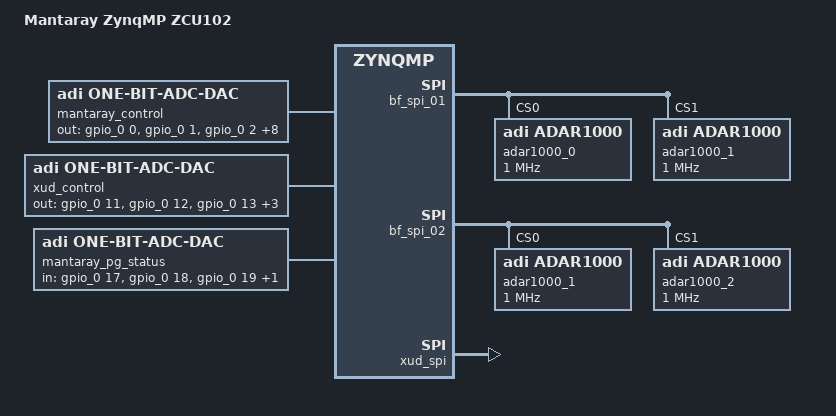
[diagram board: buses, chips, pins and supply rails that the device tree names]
// SPDX-License-Identifier: GPL-2.0
/*
 * Analog Devices Mantaray
 *
 * hdl_project: <>
 * board_revision: <>
 *
 * Copyright (C) 2026 Analog Devices Inc.
 */

 #include "zynqmp-zcu102-rev1.0.dts"
 #include <dt-bindings/iio/frequency/hmc7044.h>
 
 / {
         model = "Mantaray ZynqMP ZCU102";
 
         fpga_axi: fpga-axi@0 {
                #address-cells = <2>;
                #size-cells = <2>;
                compatible = "simple-bus";
                ranges ;
 
                axi_sysid_0: axi_sysid@85000000 {
                        clock-names = "s_axi_aclk";
                        clocks = <&zynqmp_clk 71>;
                        compatible = "xlnx,axi-sysid-1.0";
                        reg = <0x0 0x85000000 0x0 0x10000>;
                };

                axi_tdd_0: axi_tdd@800a0000 {
                        clock-names = "intf_clk", "s_axi_aclk";
                        clocks = <&zynqmp_clk 72>, <&zynqmp_clk 71>;
                        compatible = "adi,axi-tdd";
                        reg = <0x0 0x800a0000 0x0 0x1000>;
                };
        
                iio_axi_tdd_0: iio-axi-tdd-0@0 {
                        compatible = "adi,iio-fake-platform-device";
                        adi,faked-dev = <&axi_tdd_0>;
                        adi,attribute-names =
                                "version", "core_id", "scratch", "magic",
                                "sync_soft", "sync_external", "sync_internal", "sync_reset",
                                "enable", "startup_delay_raw", "startup_delay_ms",
                                "burst_count", "frame_length_raw", "frame_length_ms",
                                "state", "internal_sync_period_raw", "internal_sync_period_ms",
                                "out_channel0_enable", "out_channel0_polarity",
                                "out_channel0_on_raw", "out_channel0_on_ms",
                                "out_channel0_off_raw", "out_channel0_off_ms",
                                "out_channel1_enable", "out_channel1_polarity",
                                "out_channel1_on_raw", "out_channel1_on_ms",
                                "out_channel1_off_raw", "out_channel1_off_ms",
                                "out_channel2_enable", "out_channel2_polarity",
                                "out_channel2_on_raw", "out_channel2_on_ms",
                                "out_channel2_off_raw", "out_channel2_off_ms",
                                "out_channel3_enable", "out_channel3_polarity",
                                "out_channel3_on_raw", "out_channel3_on_ms",
                                "out_channel3_off_raw", "out_channel3_off_ms",
                                "out_channel4_enable", "out_channel4_polarity",
                                "out_channel4_on_raw", "out_channel4_on_ms",
                                "out_channel4_off_raw", "out_channel4_off_ms",
                                "out_channel5_enable", "out_channel5_polarity",
                                "out_channel5_on_raw", "out_channel5_on_ms",
                                "out_channel5_off_raw", "out_channel5_off_ms",
                                "out_channel6_enable", "out_channel6_polarity",
                                "out_channel6_on_raw", "out_channel6_on_ms",
                                "out_channel6_off_raw", "out_channel6_off_ms",
                                "out_channel7_enable", "out_channel7_polarity",
                                "out_channel7_on_raw", "out_channel7_on_ms",
                                "out_channel7_off_raw", "out_channel7_off_ms",
                                "out_channel8_enable", "out_channel8_polarity",
                                "out_channel8_on_raw", "out_channel8_on_ms",
                                "out_channel8_off_raw", "out_channel8_off_ms",
                                "out_channel9_enable", "out_channel9_polarity",
                                "out_channel9_on_raw", "out_channel9_on_ms",
                                "out_channel9_off_raw", "out_channel9_off_ms",
                                "out_channel10_enable", "out_channel10_polarity",
                                "out_channel10_on_raw", "out_channel10_on_ms",
                                "out_channel10_off_raw", "out_channel10_off_ms",
                                "out_channel11_enable", "out_channel11_polarity",
                                "out_channel11_on_raw", "out_channel11_on_ms",
                                "out_channel11_off_raw", "out_channel11_off_ms",
                                "out_channel12_enable", "out_channel12_polarity",
                                "out_channel12_on_raw", "out_channel12_on_ms",
                                "out_channel12_off_raw", "out_channel12_off_ms",
                                "out_channel13_enable", "out_channel13_polarity",
                                "out_channel13_on_raw", "out_channel13_on_ms",
                                "out_channel13_off_raw", "out_channel13_off_ms",
                                "out_channel14_enable", "out_channel14_polarity",
                                "out_channel14_on_raw", "out_channel14_on_ms",
                                "out_channel14_off_raw", "out_channel14_off_ms",
                                "out_channel15_enable", "out_channel15_polarity",
                                "out_channel15_on_raw", "out_channel15_on_ms",
                                "out_channel15_off_raw", "out_channel15_off_ms",
                                "out_channel16_enable", "out_channel16_polarity",
                                "out_channel16_on_raw", "out_channel16_on_ms",
                                "out_channel16_off_raw", "out_channel16_off_ms";
                        label = "iio-axi-tdd-0";
                };

 
                bf_spi_01: spi@80000000 {
                        #address-cells = <1>;
                        #size-cells = <0>;
                        bits-per-word = <8>;
                        clock-names = "ext_spi_clk", "s_axi_aclk";
                        clocks = <&zynqmp_clk 74>, <&zynqmp_clk 71>;
                        compatible = "xlnx,axi-quad-spi-3.2", "xlnx,xps-spi-2.00.a";
                        fifo-size = <16>;
                        interrupt-names = "ip2intc_irpt";
                        interrupt-parent = <&gic>;
                        interrupts = <0 89 1>;
                        num-cs = <0x4>;
                        reg = <0x0 0x80000000 0x0 0x1000>;
                        xlnx,num-ss-bits = <0x4>;
                        xlnx,spi-mode = <0>;

                        //first tile on the first controller
                        adar1000_0@0 {
                                compatible = "adi,adar1000";
                                reg = <0>;
                                spi-max-frequency = <1000000>;
        
                                #address-cells = <1>;
                                #size-cells = <0>;
        
                                adar1000_csb_0_1_1@0 {
                                        reg = <0>;
                                        label = "adar1000_csb_0_1_1";
                                };
        
                                adar1000_csb_0_1_2@1 {
                                        reg = <1>;
                                        label = "adar1000_csb_0_1_2";
                                };
        
                                adar1000_csb_0_1_3@2 {
                                        reg = <2>;
                                        label = "adar1000_csb_0_1_3";
                                };
        
                                adar1000_csb_0_1_4@3 {
                                        reg = <3>;
                                        label = "adar1000_csb_0_1_4";
                                };
                        };
 
                        //second tile on the first controller
                        adar1000_1@1 {
                        	compatible = "adi,adar1000";
                        	reg = <1>;
                        	spi-max-frequency = <1000000>;
        
                        	#address-cells = <1>;
                        	#size-cells = <0>;
        
                        	adar1000_csb_0_2_1@0 {
                        		reg = <0>;
                        		label = "adar1000_csb_0_2_1";
                        	};
        
                        	adar1000_csb_0_2_2@1 {
                        		reg = <1>;
                        		label = "adar1000_csb_0_2_2";
                        	};
        
                        	adar1000_csb_0_2_3@2 {
                        		reg = <2>;
                        		label = "adar1000_csb_0_2_3";
                        	};
        
                        	adar1000_csb_0_2_4@3 {
                        		reg = <3>;
                        		label = "adar1000_csb_0_2_4";
                        	};
                        };
                };
 
                bf_spi_02: spi@80010000 {
                        #address-cells = <1>;
                        #size-cells = <0>;
                        bits-per-word = <8>;
                        clock-names = "ext_spi_clk", "s_axi_aclk";
                        clocks = <&zynqmp_clk 74>, <&zynqmp_clk 71>;
                        compatible = "xlnx,axi-quad-spi-3.2", "xlnx,xps-spi-2.00.a";
                        fifo-size = <16>;
                        interrupt-names = "ip2intc_irpt";
                        interrupt-parent = <&gic>;
                        interrupts = <0 90 1>;
                        num-cs = <0x4>;
                        reg = <0x0 0x80010000 0x0 0x1000>;
                        xlnx,num-ss-bits = <0x4>;
                        xlnx,spi-mode = <0>;
                        //first tile second controller
                        adar1000_1@0 {
                        	compatible = "adi,adar1000";
                        	reg = <0>;
                        	spi-max-frequency = <1000000>;
        
                        	#address-cells = <1>;
                        	#size-cells = <0>;
        
                        	adar1000_csb_1_1_1@0 {
                        		reg = <0>;
                        		label = "adar1000_csb_1_1_1";
                        	};
        
                        	adar1000_csb_1_1_2@1 {
                        		reg = <1>;
                        		label = "adar1000_csb_1_1_2";
                        	};
        
                        	adar1000_csb_1_1_3@2 {
                        		reg = <2>;
                        		label = "adar1000_csb_1_1_3";
                        	};
        
                        	adar1000_csb_1_1_4@3 {
                        		reg = <3>;
                        		label = "adar1000_csb_1_1_4";
                        	};
                        };

                        //second tile second controller
                        adar1000_2@1 {
                        	compatible = "adi,adar1000";
                        	reg = <1>;
                        	spi-max-frequency = <1000000>;
        
                        	#address-cells = <1>;
                        	#size-cells = <0>;
        
                        	adar1000_csb_1_2_1@0 {
                        		reg = <0>;
                        		label = "adar1000_csb_1_2_1";
                        	};
        
                        	adar1000_csb_1_2_2@1 {
                        		reg = <1>;
                        		label = "adar1000_csb_1_2_2";
                        	};
        
                        	adar1000_csb_1_2_3@2 {
                        		reg = <2>;
                        		label = "adar1000_csb_1_2_3";
                        	};
        
                        	adar1000_csb_1_2_4@3 {
                        		reg = <3>;
                        		label = "adar1000_csb_1_2_4";
                        	};
                        };
 
                };
                 
                gpio_0: gpio@80090000 {
                        #gpio-cells = <2>;
                        clock-names = "s_axi_aclk";
                        clocks = <&zynqmp_clk 71>;
                        compatible = "xlnx,axi-gpio-2.0", "xlnx,xps-gpio-1.00.a";
                        gpio-controller;
                        reg = <0x0 0x80090000 0x0 0x1000>;
                        xlnx,all-inputs = <0x0>;
                        xlnx,all-inputs-2 = <0x0>;
                        xlnx,all-outputs = <0x0>;
                        xlnx,all-outputs-2 = <0x0>;
                        xlnx,dout-default = <0x00000000>;
                        xlnx,dout-default-2 = <0x00000000>;
                        xlnx,gpio-width = <0x16>;
                        xlnx,gpio2-width = <0x4>;
                        xlnx,interrupt-present = <0x0>;
                        xlnx,is-dual = <0x1>;
                        xlnx,tri-default = <0xFFFFFFFF>;
                        xlnx,tri-default-2 = <0xFFFFFFFF>;
                 };

                xud_spi: spi@80080000 {
                        bits-per-word = <8>;
                        clock-names = "ext_spi_clk", "s_axi_aclk";
                        clocks = <&zynqmp_clk 74>, <&zynqmp_clk 71>;
                        compatible = "xlnx,axi-quad-spi-3.2", "xlnx,xps-spi-2.00.a";
                        fifo-size = <16>;
                        interrupt-names = "ip2intc_irpt";
                        interrupt-parent = <&gic>;
                        interrupts = <0 97 1>;
                        num-cs = <0x1>;
                        reg = <0x0 0x80080000 0x0 0x1000>;
                        xlnx,num-ss-bits = <0x1>;
                        xlnx,spi-mode = <0>;
                 };
         };
 
        mantaray_control@0 {
 
                compatible = "adi,one-bit-adc-dac";
                #address-cells = <1>;
                #size-cells = <0>;

                out-gpios = <&gpio_0 0 0>, <&gpio_0 1 0>, <&gpio_0 2 0>,
                            <&gpio_0 3 0>, <&gpio_0 4 0>, <&gpio_0 5 0>,
                            <&gpio_0 6 0>, <&gpio_0 7 0>, <&gpio_0 8 0>,
                            <&gpio_0 9 0>, <&gpio_0 10 0>;
                label = "mantaray_control";
 
                channel@0 {
                        reg = <0>;
                        label = "BF_TR";
                };
 
                channel@1 {
                        reg = <1>;
                        label = "BF_TX_LOAD";
                };
 
                channel@2 {
                        reg = <2>;
                        label = "BF_RX_LOAD";
                };
 
                channel@3 {
                        reg = <3>;
                        label = "BF_PWR_EN_01";
                };
 
                channel@4 {
                        reg = <4>;
                        label = "BF_PA_ON_01";
                };
 
                channel@5 {
                        reg = <5>;
                        label = "BF_PWR_EN_02";
                };
 
                channel@6 {
                        reg = <6>;
                        label = "BF_PA_ON_02";
                };
 
                channel@7 {
                        reg = <7>;
                        label = "BF_PWR_EN_03";
                };

                channel@8 {
                        reg = <8>;
                        label = "BF_PA_ON_03";
                };

                channel@9 {
                        reg = <9>;
                        label = "BF_PWR_EN_04";
                };

                channel@10 {
                        reg = <10>;
                        label = "BF_PA_ON_04";
                };
        };
 
        xud_control@1 {
                compatible = "adi,one-bit-adc-dac";
                #address-cells = <1>;
                #size-cells = <0>;

                out-gpios = <&gpio_0 11 0>, <&gpio_0 12 0>, <&gpio_0 13 0>,
                            <&gpio_0 14 0>, <&gpio_0 15 0>, <&gpio_0 16 0>;
                label = "xud_control";

                channel@0 {
                        reg = <0>;
                        label = "XUD_RX_GAIN_MODE";
                };

                channel@1 {
                        reg = <1>;
                        label = "XUD_PLL_OUTPUT_SEL";
                };
                channel@2 {
                        reg = <2>;
                        label = "XUD_TXRX0";
                };

                channel@3 {
                        reg = <3>;
                        label = "XUD_TXRX1";
                };

                channel@4 {
                        reg = <4>;
                        label = "XUD_TXRX2";
                };

                channel@5 {
                        reg = <5>;
                        label = "XUD_TXRX3";
                };
        };
 
        mantaray_pg_status@2 {
                compatible = "adi,one-bit-adc-dac";
                #address-cells = <1>;
                #size-cells = <0>;

                in-gpios = <&gpio_0 17 0>, <&gpio_0 18 0>,
                           <&gpio_0 19 0>, <&gpio_0 20 0>;
                label = "mantaray_pg_status";

                channel@0 {
                        reg = <0>;
                        label = "PG_PA_VGG_01";
                };

                channel@1 {
                        reg = <1>;
                        label = "PG_PA_VGG_02";
                };

                channel@2 {
                        reg = <2>;
                        label = "PG_PA_VGG_03";
                };

                channel@3 {
                        reg = <3>;
                        label = "PG_PA_VGG_04";
                };
        };
};
 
